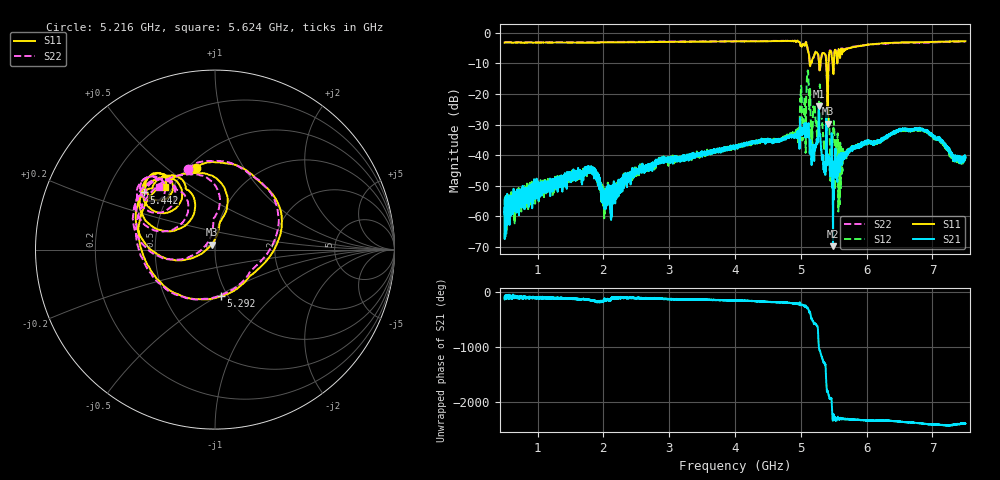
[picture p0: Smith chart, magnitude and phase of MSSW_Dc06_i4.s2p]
!Keysight Technologies,M9374A,MY55442783,A.12.55.05
!Date: Thursday, May 20, 2021 13:24:11
!Correction: S11(Full 2 Port(1,2))
!S21(Full 2 Port(1,2))
!S12(Full 2 Port(1,2))
!S22(Full 2 Port(1,2))
!S2P File: Measurements: S11, S21, S12, S22:
# Hz S  RI  R 50
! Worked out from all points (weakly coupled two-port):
!   7001 points, 500 MHz to 7.5 GHz, reference 50 ohm
!   highest |S21| = -24.00 dB at 5.274 GHz (marker M1); lowest = -69.7 dB at 5.489 GHz (marker M2)
!   lowest |S11| = -29.6 dB at 5.407 GHz (marker M3), VSWR 1.07, Z = 48.2 + j2.66 ohm
!   |S11| at or under -10 dB: 5.276646 GHz to 5.298864 GHz (22.22 MHz wide, 0.42 % of centre); 5.386 GHz to 5.42 GHz (33.73 MHz wide, 0.624 % of centre); 5.483585 GHz to 5.501731 GHz (18.15 MHz wide, 0.33 % of centre) (the widest 3 of 4)
!   |S22| runs from -24.9 to -2.5 dB; largest |S21 - S12| = 0.24
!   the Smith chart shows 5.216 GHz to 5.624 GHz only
!   S11 on the Smith chart (normalised r, x): 5.216 GHz: 0.55, +0.63; 5.292 GHz: 0.93, -0.52; 5.442 GHz: 0.36, +0.31; 5.624 GHz: 0.45, +0.40
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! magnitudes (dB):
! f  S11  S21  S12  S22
! 500 MHz  -3.2  -59.3  -58.2  -3.0
! 1.667 GHz  -3.2  -46.9  -47.2  -3.0
! 1.845 GHz  -3.2  -45.2  -45.7  -3.0
! 2.111 GHz  -3.1  -57.6  -54.7  -3.0
! 2.834 GHz  -3.0  -41.8  -41.8  -2.9
! 4 GHz  -2.8  -37.2  -37.5  -2.7
! 4.946 GHz  -2.5  -32.8  -32.4  -2.5
! 4.984 GHz  -3.1  -30.9  -27.8  -3.1
! 5.05 GHz  -4.0  -31.1  -24.3  -3.9
! 5.114 GHz  -6.1  -29.8  -13.5  -6.1
! 5.167 GHz  -9.5  -41.9  -30.3  -9.2
! 5.216 GHz  -6.6  -37.3  -25.5  -6.5
! 5.274 GHz  -9.2  -24.0  -23.0  -9.2
! 5.292 GHz  -11.7  -33.2  -17.5  -12.1
! 5.357 GHz  -6.7  -44.3  -36.7  -6.5
! 5.407 GHz  -29.6  -41.1  -23.8  -24.8
! 5.442 GHz  -5.9  -44.3  -36.4  -5.7
! 5.489 GHz  -12.2  -69.7  -33.2  -11.0
! 5.624 GHz  -7.0  -43.1  -40.7  -6.6
! 6.334 GHz  -3.3  -33.5  -33.5  -3.4
! 6.858 GHz  -3.1  -31.6  -31.9  -3.2
! 7.5 GHz  -2.7  -40.7  -40.8  -2.9
